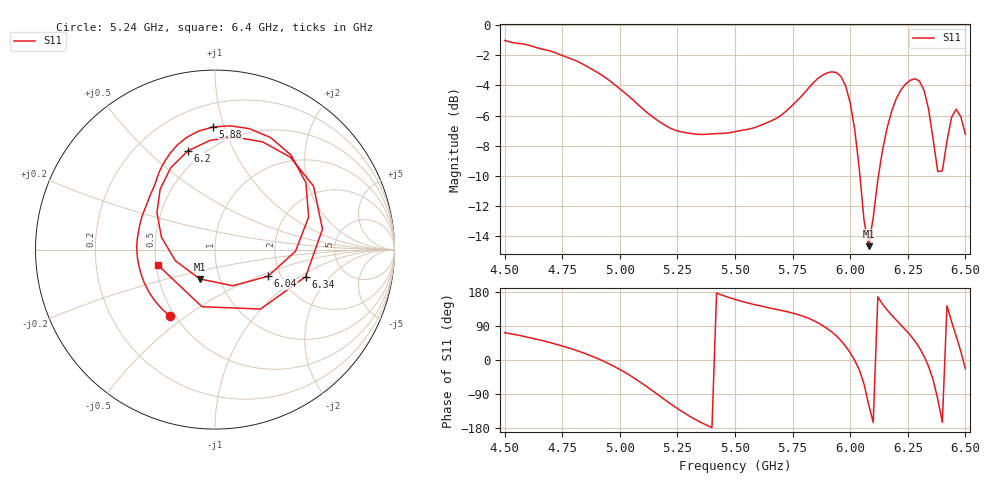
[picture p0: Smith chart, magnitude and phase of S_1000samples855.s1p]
! TOUCHSTONE file generated by CST MICROWAVE STUDIO
! Date and time: Sat Oct 29 14:56:22 2022
! Project name: L.cst
! Parameters = {Di=1.27; Epsilon_r=1.56; InnerDiameter=1.27; Length=2; Lf=10; Lg=60; OuterConductorThickness=0.2921; OuterDiameter=3.6; Wf=3; Wp=41.2; de=1.5; df=6.8; g=0.8; gx=4.75626; gy=0.97063; h=2.34; hf=1.524; px=13.8364; py=12.4945; w=9.7; wx=9.08017; wy=11.5238}
! Header version: 2018
! Port assignment regex: !\s*Touchstone port\s*([0-9]+)\s*=\s*(CST MWS port|CST DS port)\s*([0-9]+|Zmin|Zmax)\s*\(\"(.*)\"\)(\s*mode\s*([0-9]+))?.*
! Touchstone port assignment:
! Touchstone port 1 = CST MWS port 1 ("")
# GHz S DB R 50
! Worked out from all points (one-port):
!   101 points, 4.5 GHz to 6.5 GHz, reference 50 ohm
!   lowest |S11| = -14.7 dB at 6.08 GHz (marker M1), VSWR 1.45, Z = 40.1 - j13.6 ohm
!   |S11| at or under -10 dB: 6.042 GHz to 6.123 GHz (80.61 MHz wide, 1.33 % of centre)
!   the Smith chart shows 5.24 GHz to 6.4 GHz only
!   S11 on the Smith chart (normalised r, x): 5.24 GHz: 0.47, -0.44; 5.88 GHz: 0.36, +0.92; 6.04 GHz: 1.71, -0.57; 6.2 GHz: 0.41, +0.68; 6.34 GHz: 2.70, -1.13; 6.4 GHz: 0.51, -0.10
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4.5  -1.00 72.2
4.76  -2.06 35.2
4.9  -3.11 4.8
5  -4.22 -24.9
5.12  -5.82 -71.5
5.24  -6.97 -123.9
5.26  -7.06 -132.0
5.36  -7.26 -167.0
5.5  -7.08 160.0
5.76  -5.16 122.1
5.88  -3.31 91.0
5.94  -3.14 63.6
6  -5.15 19.2
6.04  -9.63 -26.8
6.08  -14.70 -117.3
6.14  -8.32 147.5
6.2  -4.88 105.4
6.26  -3.66 66.1
6.3  -3.70 32.8
6.34  -5.56 -16.6
6.36  -7.59 -52.5
6.38  -9.72 -102.9
6.4  -9.68 -164.5
6.42  -7.70 143.2
6.44  -6.12 101.3
6.46  -5.59 62.9
6.48  -6.08 23.0
6.5  -7.24 -23.1
